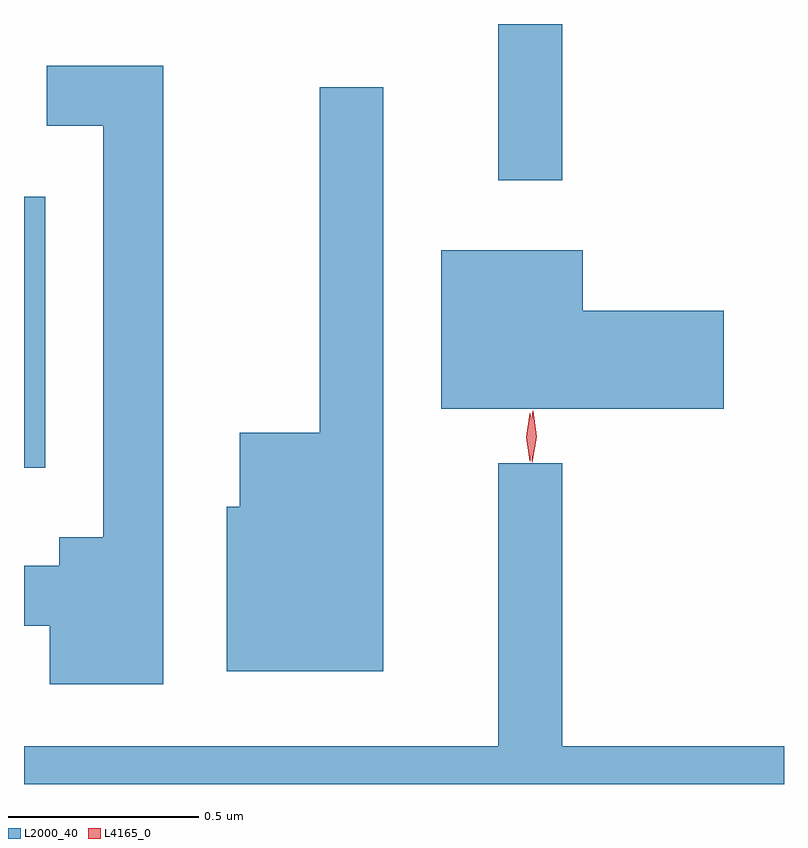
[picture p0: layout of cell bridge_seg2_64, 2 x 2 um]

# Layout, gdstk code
import gdstk
lib = gdstk.Library(unit=1e-6, precision=1e-09)
def R(c, l, rs):  # rectangles x0, y0, x1, y1
    for r in rs: c.add(gdstk.rectangle(r[:2], r[2:], *l))
def P(c, l, *ps):  # polygons
    for p in ps: c.add(gdstk.Polygon(p, *l))
L2000_40 = (2000, 40)
L4165_0 = (4165, 0)

bridge_seg2_64 = lib.new_cell('bridge_seg2_64')
R(bridge_seg2_64, L2000_40, [(1122.003,1075.956,1122.059,1076.669), (1123.251,1076.713,1123.419,1077.124)])
P(bridge_seg2_64, L2000_40, [(1122.369,1077.014),(1122.063,1077.014),(1122.063,1076.856),(1122.211,1076.856),(1122.211,1075.774),(1122.096,1075.774),(1122.096,1075.699),(1122.003,1075.699),(1122.003,1075.541),(1122.071,1075.541),(1122.071,1075.386),(1122.369,1075.386)],
  [(1122.949,1076.958),(1122.781,1076.958),(1122.781,1076.049),(1122.571,1076.049),(1122.571,1075.854),(1122.536,1075.854),(1122.536,1075.421),(1122.949,1075.421)],
  [(1123.844,1076.369),(1123.474,1076.369),(1123.474,1076.529),(1123.101,1076.529),(1123.101,1076.111),(1123.844,1076.111)],
  [(1124.003,1075.224),(1123.419,1075.224),(1123.419,1075.968),(1123.251,1075.968),(1123.251,1075.224),(1122.003,1075.224),(1122.003,1075.124),(1124.003,1075.124)])
P(bridge_seg2_64, L4165_0, [(1123.34,1075.97),(1123.332,1076.038),(1123.342,1076.106),(1123.342,1076.106),(1123.343,1076.106),(1123.352,1076.038),(1123.341,1075.97),(1123.341,1075.97)],
  [(1123.335,1075.973),(1123.334,1075.974),(1123.325,1076.036),(1123.334,1076.1),(1123.334,1076.1),(1123.335,1076.1),(1123.345,1076.036),(1123.335,1075.974)])

lib.write_gds('bridge_seg2_64.gds')
